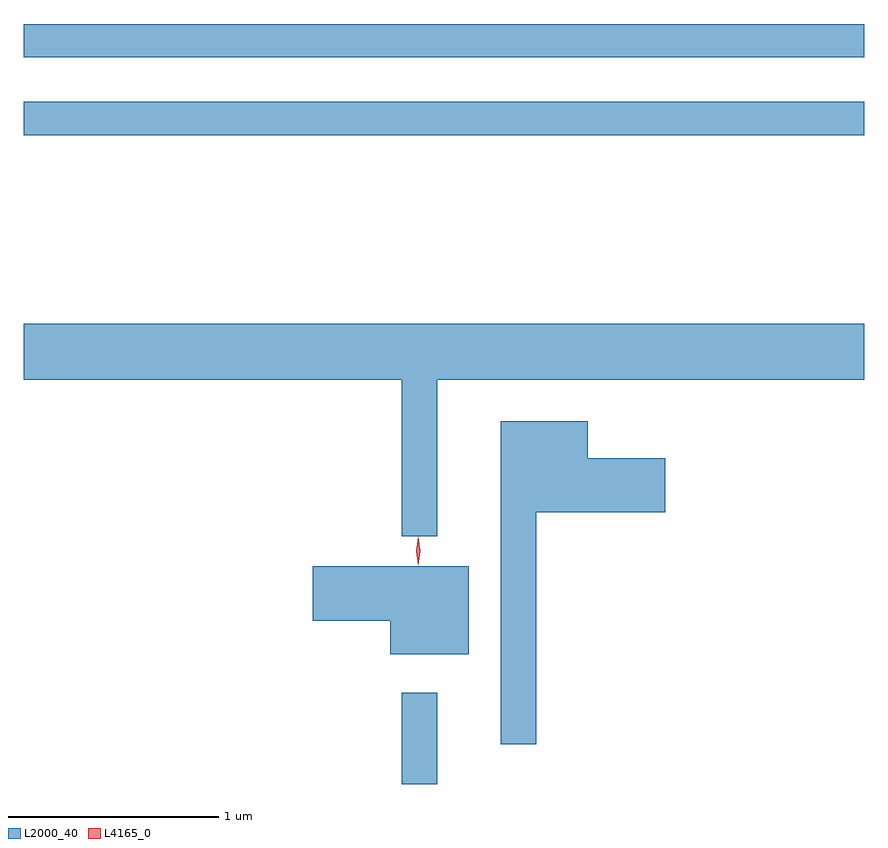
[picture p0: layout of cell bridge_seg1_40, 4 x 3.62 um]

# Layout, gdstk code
import gdstk
lib = gdstk.Library(unit=1e-6, precision=1e-09)
def R(c, l, rs):  # rectangles x0, y0, x1, y1
    for r in rs: c.add(gdstk.rectangle(r[:2], r[2:], *l))
def P(c, l, *ps):  # polygons
    for p in ps: c.add(gdstk.Polygon(p, *l))
L2000_40 = (2000, 40)
L4165_0 = (4165, 0)

bridge_seg1_40 = lib.new_cell('bridge_seg1_40')
R(bridge_seg1_40, L2000_40, [(1630.601,846.594,1630.769,847.028), (1628.801,849.681,1632.801,849.839), (1628.801,850.051,1632.801,850.209)])
P(bridge_seg1_40, L2000_40, [(1630.769,848.516),(1632.801,848.516),(1632.801,848.784),(1628.801,848.784),(1628.801,848.516),(1630.601,848.516),(1630.601,847.773),(1630.769,847.773)],
  [(1631.239,847.886),(1631.854,847.886),(1631.854,848.144),(1631.484,848.144),(1631.484,848.319),(1631.071,848.319),(1631.071,846.783),(1631.239,846.783)],
  [(1630.919,847.629),(1630.176,847.629),(1630.176,847.371),(1630.546,847.371),(1630.546,847.211),(1630.919,847.211)])
P(bridge_seg1_40, L4165_0, [(1630.678,847.634),(1630.678,847.634),(1630.668,847.702),(1630.678,847.77),(1630.678,847.77),(1630.679,847.77),(1630.688,847.702),(1630.679,847.634)],
  [(1630.678,847.64),(1630.678,847.64),(1630.668,847.703),(1630.678,847.766),(1630.678,847.767),(1630.679,847.766),(1630.688,847.703),(1630.679,847.64)])

lib.write_gds('bridge_seg1_40.gds')
